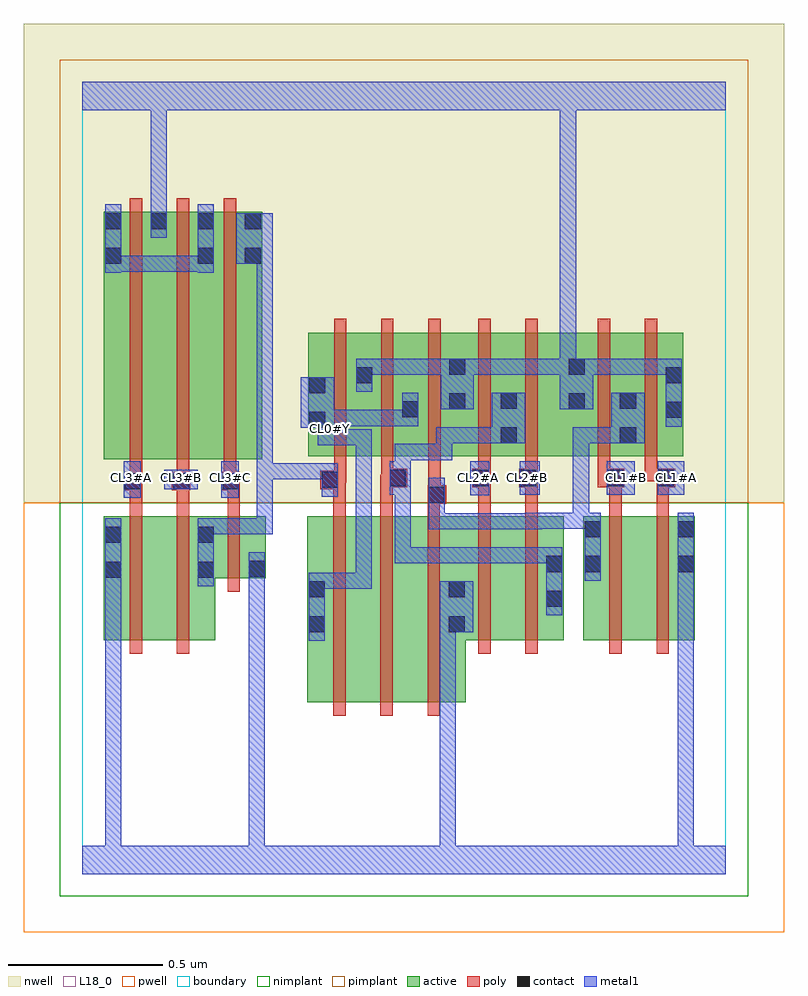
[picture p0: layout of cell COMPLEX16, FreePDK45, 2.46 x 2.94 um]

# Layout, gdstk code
import gdstk
lib = gdstk.Library(unit=1e-6, precision=1e-09)
def R(c, l, rs):  # rectangles x0, y0, x1, y1
    for r in rs: c.add(gdstk.rectangle(r[:2], r[2:], *l))
def A(c, l, x, y, w, h, nx, ny, dx, dy):  # array of equal rectangles
    R(c, l, [(x+i*dx, y+j*dy, x+i*dx+w, y+j*dy+h) for i in range(nx) for j in range(ny)])
active = (1, 0)
pwell = (2, 0)
nwell = (3, 0)
nimplant = (4, 0)
pimplant = (5, 0)
poly = (9, 0)
contact = (10, 0)
metal1 = (11, 0)
L18_0 = (18, 0)
boundary = (235, 0)

complex16 = lib.new_cell('COMPLEX16')
R(complex16, active, [(0.728,0.556,0.788,1.156), (0.728,0.556,0.908,1.156), (0.908,0.556,1.06,1.156), (1.06,0.556,1.24,1.156), (1.18,0.556,1.24,1.156), (0.07,0.756,0.13,1.156), (0.07,0.756,0.25,1.156), (0.25,0.756,0.43,1.156), (0.37,0.756,0.43,1.156), (1.18,0.756,1.376,1.156), (1.376,0.756,1.556,1.156), (1.496,0.756,1.556,1.156), (1.62,0.756,1.68,1.156), (1.62,0.756,1.8,1.156), (1.8,0.756,1.98,1.156), (1.92,0.756,1.98,1.156), (0.37,0.956,0.594,1.156), (0.534,0.956,0.594,1.156), (0.07,1.34,0.13,2.14), (0.07,1.34,0.278,2.14), (0.218,1.34,0.43,2.14), (0.37,1.34,0.582,2.14), (0.522,1.34,0.582,2.14), (0.73,1.35,0.79,1.644), (0.73,1.35,0.942,1.75), (0.882,1.35,1.09,1.75), (0.882,1.35,0.942,1.644), (1.03,1.35,1.09,1.644), (1.03,1.35,1.242,1.75), (1.182,1.35,1.408,1.75), (1.182,1.35,1.242,1.67), (1.348,1.35,1.408,1.644), (1.348,1.35,1.628,1.75), (1.568,1.35,1.628,1.75), (1.568,1.35,1.794,1.75), (1.734,1.35,1.942,1.75), (1.734,1.35,1.794,1.644), (1.882,1.35,1.942,1.75), (0.37,1.412,0.43,2.14), (0.218,1.498,0.278,2.14)])
R(complex16, pwell, [(-0.188,-0.188,2.268,1.2)])
R(complex16, nwell, [(-0.188,1.2,2.268,2.748)])
R(complex16, nimplant, [(-0.072,-0.072,2.152,1.2)])
R(complex16, pimplant, [(-0.072,1.2,2.152,2.632)])
A(complex16, poly, 0.812, 0.512, 0.04, 0.688, 3, 1, 0.152, 0)
A(complex16, poly, 0.154, 1.26, 0.04, 0.076, 3, 1, 0.152, 0)
A(complex16, poly, 0.154, 1.296, 0.04, 0.888, 3, 1, 0.152, 0)
A(complex16, poly, 0.814, 1.306, 0.04, 0.488, 3, 1, 0.152, 0)
R(complex16, poly, [(0.154,0.712,0.194,1.2), (0.306,0.712,0.346,1.2), (1.28,0.712,1.32,1.2), (1.432,0.712,1.472,1.2), (1.704,0.712,1.744,1.2), (1.856,0.712,1.896,1.2), (0.47,0.912,0.51,1.2), (0.154,1.16,0.194,1.28), (0.306,1.16,0.346,1.28), (0.47,1.16,0.51,1.28), (0.812,1.16,0.852,1.284), (0.964,1.16,1.004,1.29), (1.116,1.16,1.156,1.236), (1.28,1.16,1.32,1.29), (1.432,1.16,1.472,1.29), (1.704,1.16,1.744,1.29), (1.856,1.16,1.896,1.29), (1.116,1.196,1.176,1.256), (1.118,1.216,1.158,1.256), (1.118,1.216,1.158,1.256), (1.118,1.216,1.158,1.346), (0.134,1.24,0.194,1.3), (0.29,1.24,0.35,1.3), (0.45,1.24,0.51,1.3), (0.77,1.244,0.852,1.304), (0.964,1.25,1.006,1.29), (0.966,1.25,1.006,1.29), (0.966,1.25,1.05,1.31), (1.26,1.25,1.32,1.31), (1.28,1.25,1.32,1.29), (1.28,1.25,1.32,1.29), (1.412,1.25,1.472,1.31), (1.432,1.25,1.472,1.29), (1.432,1.25,1.472,1.29), (1.666,1.25,1.752,1.31), (1.704,1.25,1.744,1.29), (1.704,1.25,1.744,1.29), (1.856,1.25,1.916,1.31), (0.154,1.26,0.194,1.3), (0.154,1.26,0.194,1.3), (0.306,1.26,0.346,1.3), (0.306,1.26,0.346,1.3), (0.458,1.26,0.498,1.3), (0.458,1.26,0.498,1.3), (0.812,1.264,0.852,1.304), (0.812,1.264,0.854,1.304), (0.814,1.264,0.854,1.346), (0.966,1.27,1.006,1.346), (1.28,1.27,1.32,1.346), (1.432,1.27,1.472,1.346), (1.666,1.27,1.706,1.346), (1.818,1.27,1.858,1.346), (1.818,1.27,1.896,1.31), (1.856,1.27,1.896,1.31), (1.28,1.306,1.32,1.794), (1.432,1.306,1.472,1.794), (1.666,1.306,1.706,1.794), (1.818,1.306,1.858,1.794)])
A(complex16, contact, 0.222, 2.084, 0.052, 0.052, 3, 1, 0.152, 0)
R(complex16, contact, [(0.732,0.782,0.784,0.834), (1.184,0.782,1.236,0.834), (1.5,0.864,1.552,0.916), (0.732,0.894,0.784,0.946), (1.184,0.894,1.236,0.946), (0.074,0.958,0.126,1.01), (0.374,0.958,0.426,1.01), (0.538,0.96,0.59,1.012), (1.5,0.976,1.552,1.028), (1.624,0.976,1.676,1.028), (1.924,0.976,1.976,1.028), (0.074,1.07,0.126,1.122), (0.374,1.07,0.426,1.122), (1.624,1.088,1.676,1.14), (1.924,1.088,1.976,1.14), (1.12,1.2,1.172,1.252), (0.138,1.244,0.19,1.296), (0.294,1.244,0.346,1.296), (0.454,1.244,0.506,1.296), (0.774,1.248,0.826,1.3), (0.994,1.254,1.046,1.306), (1.264,1.254,1.316,1.306), (1.416,1.254,1.468,1.306), (1.696,1.254,1.748,1.306), (1.86,1.254,1.912,1.306), (1.352,1.392,1.404,1.444), (1.738,1.392,1.79,1.444), (0.734,1.442,0.786,1.494), (1.886,1.474,1.938,1.526), (1.034,1.476,1.086,1.528), (1.186,1.502,1.238,1.554), (1.572,1.502,1.624,1.554), (1.352,1.504,1.404,1.556), (1.738,1.504,1.79,1.556), (0.734,1.554,0.786,1.606), (0.886,1.586,0.938,1.638), (1.886,1.586,1.938,1.638), (1.186,1.614,1.238,1.666), (1.572,1.614,1.624,1.666), (0.074,1.972,0.126,2.024), (0.374,1.972,0.426,2.024), (0.526,1.972,0.578,2.024), (0.074,2.084,0.126,2.136)])
A(complex16, metal1, 1.01, 1.282, 0.052, 0.052, 1, 3, 0, 0.166)
A(complex16, metal1, 1.324, 1.614, 0.052, 0.052, 3, 1, 0.11, 0)
R(complex16, metal1, [(0,0,2.08,0.092), (0.074,0.04,0.126,0.092), (0.074,0.04,0.126,0.092), (0.074,0.04,0.126,0.092), (0.074,0.04,0.126,0.092), (0.074,0.04,0.126,0.092), (0.074,0.04,0.126,0.092), (0.074,0.04,0.126,0.092), (0.074,0.04,0.126,0.092), (0.074,0.04,0.126,0.092), (0.074,0.04,0.126,0.092), (0.074,0.04,0.126,0.092), (0.074,0.04,0.126,0.092), (0.074,0.04,0.126,0.982), (0.538,0.04,0.59,0.092), (0.538,0.04,0.59,0.092), (0.538,0.04,0.59,0.092), (0.538,0.04,0.59,0.092), (0.538,0.04,0.59,0.092), (0.538,0.04,0.59,0.092), (0.538,0.04,0.59,0.092), (0.538,0.04,0.59,0.092), (0.538,0.04,0.59,0.092), (0.538,0.04,0.59,0.092), (0.538,0.04,0.59,0.092), (0.538,0.04,0.59,0.092), (0.538,0.04,0.59,0.092), (0.538,0.04,0.59,0.092), (0.538,0.04,0.59,0.984), (1.156,0.04,1.208,0.092), (1.156,0.04,1.208,0.092), (1.156,0.04,1.208,0.092), (1.156,0.04,1.208,0.092), (1.156,0.04,1.208,0.092), (1.156,0.04,1.208,0.092), (1.156,0.04,1.208,0.092), (1.156,0.04,1.208,0.092), (1.156,0.04,1.208,0.834), (1.924,0.04,1.976,0.092), (1.924,0.04,1.976,0.092), (1.924,0.04,1.976,0.092), (1.924,0.04,1.976,0.092), (1.924,0.04,1.976,0.092), (1.924,0.04,1.976,0.092), (1.924,0.04,1.976,0.092), (1.924,0.04,1.976,0.092), (1.924,0.04,1.976,0.092), (1.924,0.04,1.976,0.092), (1.924,0.04,1.976,1), (0.732,0.754,0.784,0.974), (1.156,0.782,1.264,0.946), (1.5,0.836,1.552,1.056), (0.732,0.922,0.936,0.974), (0.884,0.922,0.936,0.974), (0.884,0.922,0.936,0.974), (0.884,0.922,0.936,0.974), (0.884,0.922,0.936,1.438), (0.074,0.93,0.126,1.15), (0.374,0.93,0.426,1.15), (0.538,0.932,0.59,0.984), (0.538,0.932,0.59,0.984), (0.538,0.932,0.59,1.04), (1.624,0.948,1.676,1.168), (1.924,0.948,1.976,1), (1.924,0.948,1.976,1), (1.924,0.948,1.976,1.168), (1.01,1.004,1.062,1.056), (1.01,1.004,1.172,1.056), (1.01,1.004,1.062,1.334), (1.12,1.004,1.172,1.056), (1.12,1.004,1.172,1.056), (1.12,1.004,1.172,1.056), (1.12,1.004,1.306,1.056), (1.254,1.004,1.306,1.056), (1.254,1.004,1.376,1.056), (1.324,1.004,1.376,1.056), (1.324,1.004,1.466,1.056), (1.414,1.004,1.466,1.056), (1.414,1.004,1.552,1.056), (0.374,1.098,0.616,1.15), (0.564,1.098,0.616,1.15), (0.564,1.098,0.616,1.15), (0.564,1.098,0.616,1.15), (0.564,1.098,0.616,1.328), (1.12,1.114,1.306,1.166), (1.12,1.114,1.172,1.22), (1.254,1.114,1.306,1.166), (1.254,1.114,1.376,1.166), (1.324,1.114,1.376,1.166), (1.324,1.114,1.486,1.166), (1.434,1.114,1.486,1.168), (1.434,1.116,1.486,1.168), (1.434,1.116,1.486,1.168), (1.434,1.116,1.638,1.168), (1.586,1.116,1.638,1.444), (1.586,1.116,1.676,1.168), (1.624,1.116,1.676,1.168), (1.12,1.168,1.172,1.22), (1.12,1.168,1.172,1.28), (0.134,1.216,0.19,1.334), (0.45,1.216,0.506,1.334), (0.774,1.22,0.826,1.328), (1.254,1.224,1.316,1.334), (0.994,1.226,1.046,1.334), (1.414,1.226,1.478,1.334), (1.696,1.226,1.786,1.334), (1.86,1.226,1.946,1.334), (0.266,1.244,0.374,1.306), (0.564,1.276,0.616,1.328), (0.564,1.276,0.616,1.328), (0.564,1.276,0.616,1.328), (0.564,1.276,0.826,1.328), (0.564,1.276,0.616,2.024), (0.774,1.276,0.826,1.328), (0.774,1.276,0.826,1.328), (0.994,1.282,1.062,1.334), (1.01,1.282,1.062,1.334), (1.01,1.282,1.062,1.39), (1.01,1.338,1.196,1.39), (1.144,1.338,1.196,1.39), (1.144,1.338,1.196,1.39), (1.144,1.338,1.196,1.39), (1.144,1.338,1.196,1.444), (0.762,1.386,0.826,1.494), (0.774,1.386,0.826,1.438), (0.774,1.386,0.826,1.438), (0.774,1.386,0.936,1.438), (0.884,1.386,0.936,1.438), (0.884,1.386,0.936,1.438), (0.884,1.386,0.936,1.438), (1.144,1.392,1.196,1.444), (1.144,1.392,1.356,1.444), (1.304,1.392,1.356,1.444), (1.304,1.392,1.376,1.444), (1.324,1.392,1.432,1.556), (1.586,1.392,1.638,1.444), (1.586,1.392,1.638,1.444), (1.586,1.392,1.638,1.444), (1.586,1.392,1.762,1.444), (1.71,1.392,1.762,1.444), (1.71,1.392,1.762,1.444), (1.71,1.392,1.818,1.556), (0.706,1.442,0.814,1.606), (0.762,1.442,0.814,1.494), (1.886,1.446,1.938,1.666), (0.762,1.448,0.814,1.5), (0.762,1.448,0.814,1.5), (0.762,1.448,0.936,1.5), (0.884,1.448,0.936,1.5), (0.884,1.448,1.062,1.5), (1.01,1.448,1.086,1.5), (1.034,1.448,1.086,1.556), (1.158,1.502,1.266,1.666), (1.544,1.502,1.652,1.666), (0.886,1.558,0.938,1.666), (0.886,1.614,1.062,1.666), (1.01,1.614,1.062,1.666), (1.01,1.614,1.062,1.666), (1.01,1.614,1.172,1.666), (1.12,1.614,1.172,1.666), (1.12,1.614,1.21,1.666), (1.214,1.614,1.306,1.666), (1.254,1.614,1.306,1.666), (1.254,1.614,1.376,1.666), (1.324,1.614,1.486,1.666), (1.434,1.614,1.596,1.666), (1.544,1.614,1.596,1.666), (1.544,1.614,1.596,1.666), (1.544,1.614,1.596,1.666), (1.544,1.614,1.596,1.666), (1.544,1.614,1.596,1.666), (1.544,1.614,1.596,2.52), (1.6,1.614,1.802,1.666), (1.75,1.614,1.802,1.666), (1.75,1.614,1.802,1.666), (1.75,1.614,1.802,1.666), (1.75,1.614,1.938,1.666), (1.886,1.614,1.938,1.666), (1.886,1.614,1.938,1.666), (0.074,1.944,0.126,2.164), (0.374,1.944,0.426,2.164), (0.074,1.946,0.126,1.998), (0.074,1.946,0.126,1.998), (0.074,1.946,0.316,1.998), (0.264,1.946,0.316,1.998), (0.264,1.946,0.316,1.998), (0.264,1.946,0.316,1.998), (0.264,1.946,0.426,1.998), (0.498,1.972,0.616,2.136), (0.222,2.056,0.274,2.164), (0.222,2.112,0.274,2.164), (0.222,2.112,0.274,2.164), (0.222,2.112,0.274,2.164), (0.222,2.112,0.274,2.164), (0.222,2.112,0.274,2.52), (0,2.468,2.08,2.56), (0.222,2.468,0.274,2.52), (0.222,2.468,0.274,2.52), (0.222,2.468,0.274,2.52), (0.222,2.468,0.274,2.52), (1.544,2.468,1.596,2.52), (1.544,2.468,1.596,2.52), (1.544,2.468,1.596,2.52), (1.544,2.468,1.596,2.52), (1.544,2.468,1.596,2.52), (1.544,2.468,1.596,2.52), (1.544,2.468,1.596,2.52), (1.544,2.468,1.596,2.52), (1.544,2.468,1.596,2.52), (1.544,2.468,1.596,2.52), (1.544,2.468,1.596,2.52), (1.544,2.468,1.596,2.52)])
A(complex16, L18_0, 0.134, 1.254, 0.052, 0.052, 3, 1, 0.16, 0)
A(complex16, L18_0, 1.324, 1.614, 0.052, 0.052, 3, 1, 0.11, 0)
R(complex16, L18_0, [(0,0,2.08,0.092), (0.074,0.04,0.126,0.092), (0.074,0.04,0.126,0.092), (0.074,0.04,0.126,0.092), (0.074,0.04,0.126,0.092), (0.074,0.04,0.126,0.092), (0.074,0.04,0.126,0.092), (0.074,0.04,0.126,0.092), (0.074,0.04,0.126,0.092), (0.074,0.04,0.126,0.092), (0.074,0.04,0.126,0.092), (0.074,0.04,0.126,0.092), (0.074,0.04,0.126,0.092), (0.074,0.04,0.126,0.982), (0.538,0.04,0.59,0.092), (0.538,0.04,0.59,0.092), (0.538,0.04,0.59,0.092), (0.538,0.04,0.59,0.092), (0.538,0.04,0.59,0.092), (0.538,0.04,0.59,0.092), (0.538,0.04,0.59,0.092), (0.538,0.04,0.59,0.092), (0.538,0.04,0.59,0.092), (0.538,0.04,0.59,0.092), (0.538,0.04,0.59,0.092), (0.538,0.04,0.59,0.092), (0.538,0.04,0.59,0.092), (0.538,0.04,0.59,0.092), (0.538,0.04,0.59,0.984), (1.156,0.04,1.208,0.092), (1.156,0.04,1.208,0.092), (1.156,0.04,1.208,0.092), (1.156,0.04,1.208,0.092), (1.156,0.04,1.208,0.092), (1.156,0.04,1.208,0.092), (1.156,0.04,1.208,0.092), (1.156,0.04,1.208,0.092), (1.156,0.04,1.208,0.834), (1.924,0.04,1.976,0.092), (1.924,0.04,1.976,0.092), (1.924,0.04,1.976,0.092), (1.924,0.04,1.976,0.092), (1.924,0.04,1.976,0.092), (1.924,0.04,1.976,0.092), (1.924,0.04,1.976,0.092), (1.924,0.04,1.976,0.092), (1.924,0.04,1.976,0.092), (1.924,0.04,1.976,0.092), (1.924,0.04,1.976,1), (0.732,0.754,0.784,0.974), (1.156,0.782,1.264,0.946), (0.732,0.922,0.936,0.974), (0.884,0.922,0.936,0.974), (0.884,0.922,0.936,0.974), (0.884,0.922,0.936,0.974), (0.884,0.922,0.936,1.438), (0.074,0.93,0.126,1.15), (0.538,0.932,0.59,0.984), (0.538,0.932,0.59,0.984), (0.538,0.932,0.59,1.04), (1.924,0.948,1.976,1), (1.924,0.948,1.976,1), (1.924,0.948,1.976,1.168), (0.134,1.216,0.19,1.334), (0.45,1.216,0.506,1.334), (1.254,1.224,1.316,1.334), (1.414,1.226,1.478,1.334), (1.696,1.226,1.786,1.334), (1.86,1.226,1.946,1.334), (0.266,1.244,0.374,1.306), (1.254,1.254,1.306,1.306), (1.414,1.254,1.466,1.306), (1.734,1.254,1.786,1.306), (1.894,1.254,1.946,1.306), (0.762,1.386,0.826,1.494), (0.774,1.386,0.826,1.438), (0.774,1.386,0.826,1.438), (0.774,1.386,0.936,1.438), (0.884,1.386,0.936,1.438), (0.884,1.386,0.936,1.438), (0.884,1.386,0.936,1.438), (0.774,1.414,0.826,1.466), (0.706,1.442,0.814,1.606), (0.762,1.442,0.814,1.494), (1.886,1.446,1.938,1.666), (0.762,1.448,0.814,1.5), (0.762,1.448,0.814,1.5), (0.762,1.448,0.936,1.5), (0.884,1.448,0.936,1.5), (0.884,1.448,1.062,1.5), (1.01,1.448,1.062,1.5), (1.01,1.448,1.086,1.5), (1.034,1.448,1.086,1.556), (1.158,1.502,1.266,1.666), (1.544,1.502,1.652,1.666), (0.886,1.558,0.938,1.666), (0.886,1.614,1.062,1.666), (1.01,1.614,1.062,1.666), (1.01,1.614,1.062,1.666), (1.01,1.614,1.062,1.666), (1.01,1.614,1.172,1.666), (1.12,1.614,1.172,1.666), (1.12,1.614,1.21,1.666), (1.214,1.614,1.306,1.666), (1.254,1.614,1.306,1.666), (1.254,1.614,1.376,1.666), (1.324,1.614,1.486,1.666), (1.434,1.614,1.596,1.666), (1.544,1.614,1.596,1.666), (1.544,1.614,1.596,1.666), (1.544,1.614,1.596,1.666), (1.544,1.614,1.596,1.666), (1.544,1.614,1.596,1.666), (1.544,1.614,1.596,2.52), (1.6,1.614,1.802,1.666), (1.75,1.614,1.802,1.666), (1.75,1.614,1.802,1.666), (1.75,1.614,1.802,1.666), (1.75,1.614,1.938,1.666), (1.886,1.614,1.938,1.666), (1.886,1.614,1.938,1.666), (0.222,2.056,0.274,2.164), (0.222,2.112,0.274,2.164), (0.222,2.112,0.274,2.164), (0.222,2.112,0.274,2.164), (0.222,2.112,0.274,2.164), (0.222,2.112,0.274,2.52), (0,2.468,2.08,2.56), (0.222,2.468,0.274,2.52), (0.222,2.468,0.274,2.52), (0.222,2.468,0.274,2.52), (0.222,2.468,0.274,2.52), (1.544,2.468,1.596,2.52), (1.544,2.468,1.596,2.52), (1.544,2.468,1.596,2.52), (1.544,2.468,1.596,2.52), (1.544,2.468,1.596,2.52), (1.544,2.468,1.596,2.52), (1.544,2.468,1.596,2.52), (1.544,2.468,1.596,2.52), (1.544,2.468,1.596,2.52), (1.544,2.468,1.596,2.52), (1.544,2.468,1.596,2.52), (1.544,2.468,1.596,2.52)])
R(complex16, boundary, [(0,0,2.08,2.56)])
complex16.add(gdstk.Label('CL0#Y', (0.8,1.44), layer=11, texttype=0))
complex16.add(gdstk.Label('CL1#A', (1.92,1.28), layer=11, texttype=0))
complex16.add(gdstk.Label('CL1#B', (1.76,1.28), layer=11, texttype=0))
complex16.add(gdstk.Label('CL2#A', (1.28,1.28), layer=11, texttype=0))
complex16.add(gdstk.Label('CL2#B', (1.44,1.28), layer=11, texttype=0))
complex16.add(gdstk.Label('CL3#A', (0.16,1.28), layer=11, texttype=0))
complex16.add(gdstk.Label('CL3#B', (0.32,1.28), layer=11, texttype=0))
complex16.add(gdstk.Label('CL3#C', (0.48,1.28), layer=11, texttype=0))

lib.write_gds('COMPLEX16.gds')
